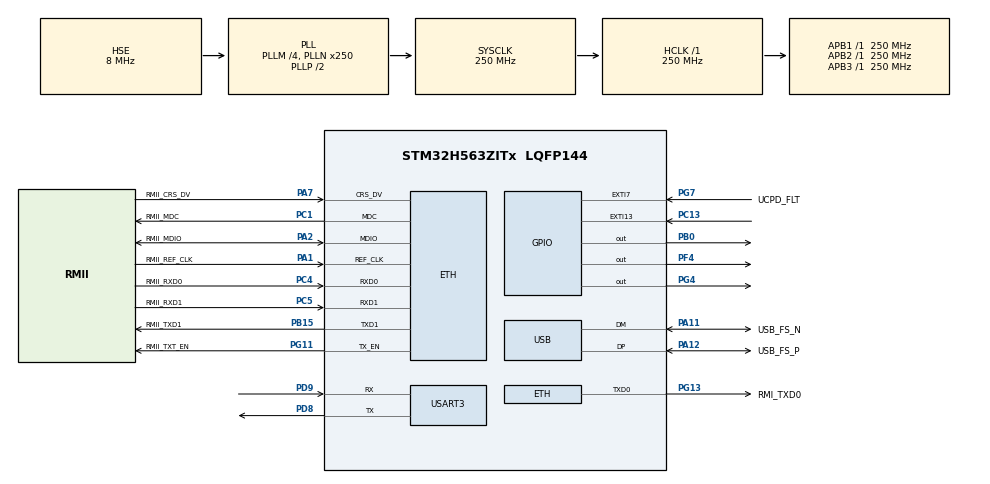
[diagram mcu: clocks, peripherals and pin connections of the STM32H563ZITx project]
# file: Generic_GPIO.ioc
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BOOTPATH.BootPathName=LEGACY
BOOTPATH.UserSelectedBootPath=LEGACY
CORTEX_M33_NS.Enable-Cortex_Memory_Protection_Unit_Region0_Settings=MPU_REGION_ENABLE
CORTEX_M33_NS.MPU_Control=__NULL
CORTEX_M33_NS.userName=CORTEX_M33
ETH.MediaInterface=HAL_ETH_RMII_MODE
FILEX.GENERATE_FILEX_INIT_CODE=false
FILEX.useRTOS=1
FLASH.EDATA1size=8
FLASH.OB_BOR_Level_active=false
FLASH.OB_EDATA1_active=true
FLASH.OB_EDATA2_active=false
FLASH.OB_HDP1_active=false
FLASH.OB_Product_State_active=false
FLASH.advanced_settings=false
GPDMA1.DESTINC_GPDMACH0=DMA_DINC_INCREMENTED
GPDMA1.IPHANDLE_GPDMACH0-SIMPLEREQUEST_GPDMACH0=__NULL
GPDMA1.REQUEST_GPDMACH0=GPDMA1_REQUEST_USART3_RX
GPDMA2.DIRECTION_GPDMACH0=DMA_MEMORY_TO_PERIPH
GPDMA2.IPHANDLE_GPDMACH0-SIMPLEREQUEST_GPDMACH0=__NULL
GPDMA2.REQUEST_GPDMACH0=GPDMA2_REQUEST_USART3_TX
GPDMA2.SRCINC_GPDMACH0=DMA_SINC_INCREMENTED
Mcu.Family=STM32H5
Mcu.Name=STM32H563ZITx
Mcu.Package=LQFP144
NETXDUO.ETH_ON=1
NETXDUO.LAN_8742=1
NETXDUO.NX_APP_IP_INSTANCE_THREAD_SIZE=2 * 1024
NETXDUO.NX_APP_MEM_POOL_SIZE=110 * 1024
NETXDUO.NX_APP_PACKET_POOL_SIZE=40
NETXDUO.NX_APP_THREAD_STACK_SIZE=2 * 1024
NETXDUO.NX_ENABLE_INTERFACE_CAPABILITY=true
NETXDUO.NX_ENABLE_SOURCE_ADDRESS_CHECK=false
NETXDUO.NetXDuo_Application_Thread_Name=nx_app_thread_entry
NETXDUO.NetXDuo_Generate_Init_Code=true
NVIC.ETH_IRQn=true\:7\:0\:true\:false\:true\:false\:true\:true\:true
NVIC.GPDMA1_Channel0_IRQn=true\:0\:0\:false\:false\:true\:true\:false\:true\:true
NVIC.GPDMA2_Channel0_IRQn=true\:0\:0\:false\:false\:true\:true\:false\:true\:true
NVIC.PriorityGroup=NVIC_PRIORITYGROUP_4
NVIC.TIM17_IRQn=true\:15\:0\:false\:false\:true\:false\:false\:true\:true
NVIC.TimeBase=TIM17_IRQn
NVIC.TimeBaseIP=TIM17
NVIC.USART3_IRQn=true\:0\:0\:false\:false\:true\:false\:true\:true\:true
NVIC.USB_DRD_FS_IRQn=true\:0\:0\:false\:false\:true\:false\:true\:true\:true
NetXDuo.BSP.number=1
NetXDuo0.BSP.STBoard=false
NetXDuo0.BSP.api=BSP_COMPONENT_DRIVER
NetXDuo0.BSP.component=lan8742
NetXDuo0.BSP.instance=lan8742
NetXDuo0.BSP.name=LAN_Component
NetXDuo0.BSP.semaphore=SEMA_lan8742
NetXDuo0.BSP.solution=lan8742
PA1.GPIO_Label=RMII_REF_CLK
PA1.GPIO_Mode=GPIO_MODE_AF_PP
PA1.GPIO_PuPd=GPIO_NOPULL
PA1.GPIO_Speed=GPIO_SPEED_FREQ_LOW
PA1.Mode=RMII
PA1.Signal=ETH_REF_CLK
PA11.GPIO_Label=USB_FS_N
PA11.Mode=Device
PA11.Signal=USB_DM
PA12.GPIO_Label=USB_FS_P
PA12.Mode=Device
PA12.Signal=USB_DP
PA13(JTMS/SWDIO).GPIO_Label=SWDIO
PA13(JTMS/SWDIO).Mode=Serial_Wire
PA13(JTMS/SWDIO).Signal=DEBUG_JTMS-SWDIO
PA14(JTCK/SWCLK).GPIO_Label=SWCLK
PA14(JTCK/SWCLK).Mode=Serial_Wire
PA14(JTCK/SWCLK).Signal=DEBUG_JTCK-SWCLK
PA15(JTDI).GPIO_Label=T_JTDI
PA15(JTDI).Signal=DEBUG_JTDI
PA2.GPIO_Label=RMII_MDIO
PA2.GPIO_Mode=GPIO_MODE_AF_PP
PA2.GPIO_PuPd=GPIO_NOPULL
PA2.GPIO_Speed=GPIO_SPEED_FREQ_LOW
PA2.Mode=RMII
PA2.Signal=ETH_MDIO
PA4.GPIO_Label=VBUS_SENSE
PA4.Signal=ADCx_INP18
PA7.GPIO_Label=RMII_CRS_DV
PA7.GPIO_Mode=GPIO_MODE_AF_PP
PA7.GPIO_PuPd=GPIO_NOPULL
PA7.GPIO_Speed=GPIO_SPEED_FREQ_LOW
PA7.Mode=RMII
PA7.Signal=ETH_CRS_DV
PA9.GPIO_Label=UCDP_DBn
PA9.Signal=UCPD1_DB1
PB0.Signal=GPIO_Output
PB13.GPIO_Label=UCPD_CC1
PB13.Signal=UCPD1_CC1
PB14.GPIO_Label=UCPD_CC2
PB14.Signal=UCPD1_CC2
PB15.GPIO_Label=RMII_TXD1
PB15.GPIO_Mode=GPIO_MODE_AF_PP
PB15.GPIO_PuPd=GPIO_NOPULL
PB15.GPIO_Speed=GPIO_SPEED_FREQ_LOW
PB15.Mode=RMII
PB15.Signal=ETH_TXD1
PB3(JTDO/TRACESWO).GPIO_Label=SWO
PB3(JTDO/TRACESWO).Signal=DEBUG_JTDO-SWO
PB6.GPIO_Label=ARD_D1_TX
PB6.Signal=LPUART1_TX
PB7.GPIO_Label=ARD_D0_RX
PB7.Signal=LPUART1_RX
PC1.GPIO_Label=RMII_MDC
PC1.GPIO_Mode=GPIO_MODE_AF_PP
PC1.GPIO_PuPd=GPIO_NOPULL
PC1.GPIO_Speed=GPIO_SPEED_FREQ_LOW
PC1.Mode=RMII
PC1.Signal=ETH_MDC
PC13.Signal=GPXTI13
PC14-OSC32_IN(OSC32_IN).Mode=LSE-External-Oscillator
PC14-OSC32_IN(OSC32_IN).Signal=RCC_OSC32_IN
PC15-OSC32_OUT(OSC32_OUT).Mode=LSE-External-Oscillator
PC15-OSC32_OUT(OSC32_OUT).Signal=RCC_OSC32_OUT
PC4.GPIO_Label=RMII_RXD0
PC4.GPIO_Mode=GPIO_MODE_AF_PP
PC4.GPIO_PuPd=GPIO_NOPULL
PC4.GPIO_Speed=GPIO_SPEED_FREQ_LOW
PC4.Mode=RMII
PC4.Signal=ETH_RXD0
PC5.GPIO_Label=RMII_RXD1
PC5.GPIO_Mode=GPIO_MODE_AF_PP
PC5.GPIO_PuPd=GPIO_NOPULL
PC5.GPIO_Speed=GPIO_SPEED_FREQ_LOW
PC5.Mode=RMII
PC5.Signal=ETH_RXD1
PD8.Mode=Asynchronous
PD8.Signal=USART3_TX
PD9.Mode=Asynchronous
PD9.Signal=USART3_RX
PE2.GPIO_Label=TRACE_CK
PE2.Signal=DEBUG_TRACECLK
PE3.GPIO_Label=TRACE_D0
PE3.Signal=DEBUG_TRACED0
PE4.GPIO_Label=TRACE_D1
PE4.Signal=DEBUG_TRACED1
PE5.GPIO_Label=TRACE_D2
PE5.Signal=DEBUG_TRACED2
PE6.GPIO_Label=TRACE_D3
PE6.Signal=DEBUG_TRACED3
PF4.Signal=GPIO_Output
PG11.GPIO_Label=RMII_TXT_EN
PG11.GPIO_Mode=GPIO_MODE_AF_PP
PG11.GPIO_PuPd=GPIO_NOPULL
PG11.GPIO_Speed=GPIO_SPEED_FREQ_LOW
PG11.Mode=RMII
PG11.Signal=ETH_TX_EN
PG13.GPIO_Label=RMI_TXD0
PG13.GPIO_Mode=GPIO_MODE_AF_PP
PG13.GPIO_PuPd=GPIO_NOPULL
PG13.GPIO_Speed=GPIO_SPEED_FREQ_LOW
PG13.Mode=RMII
PG13.Signal=ETH_TXD0
PG4.Signal=GPIO_Output
PG7.GPIO_Label=UCPD_FLT
PG7.Signal=GPXTI7
PH0-OSC_IN(PH0).GPIO_Label=STLK_MCO
PH0-OSC_IN(PH0).Mode=HSE-External-Clock-Source
PH0-OSC_IN(PH0).Signal=RCC_OSC_IN
ProjectManager.HeapSize=0x200
ProjectManager.StackSize=0x400
ProjectManager.TargetToolchain=STM32CubeIDE
RCC.ADCFreq_Value=250000000
RCC.AHBFreq_Value=250000000
RCC.APB1Freq_Value=250000000
RCC.APB1TimFreq_Value=250000000
RCC.APB2Freq_Value=250000000
RCC.APB2TimFreq_Value=250000000
RCC.APB3Freq_Value=250000000
RCC.CSI_VALUE=4000000
RCC.CortexFreq_Value=250000000
RCC.EPOD_VALUE=8000000
RCC.HCLKFreq_Value=250000000
RCC.HSE_VALUE=8000000
RCC.HSI48_VALUE=48000000
RCC.HSIDiv=RCC_HSI_DIV1
RCC.HSI_VALUE=64000000
RCC.LSIRC_VALUE=32000
RCC.PLLM=4
RCC.PLLN=250
RCC.PLLSourceVirtual=RCC_PLL1_SOURCE_HSE
RCC.SYSCLKFreq_VALUE=250000000
RCC.SYSCLKSource=RCC_SYSCLKSOURCE_PLLCLK
RCC.USBFreq_Value=48000000
RCC.VCOOutputFreq_Value=500000000
SH.ADCx_INP18.0=ADC1_INP18
USART3.VirtualMode-Asynchronous=VM_ASYNC
USB.VirtualMode=Device_Only
USBX.BSP.number=1
USBX.Core_System=1
USBX.USBD_CDCACM_EPIN_ADDR=2
USBX.USBD_CDCACM_EPOUT_ADDR=3
USBX.UX_DEVICE_CDC_ACM=1
USBX.UX_Device_Controller=1
USBX.UX_Device_CoreStack=1
USBX.UX_PERIODIC_RATE=100
USBX0.BSP.STBoard=false
USBX0.BSP.api=Unknown
USBX0.BSP.instance=USB
USBX0.BSP.ip=USB
USBX0.BSP.mode=Device_Only
USBX0.BSP.name=USB_Device
USBX0.BSP.solution=USB
VP_BOOTPATH_VS_BOOTPATH.Mode=BP_Activate
VP_CORTEX_M33_NS_VS_Hclk.Mode=Hclk_Mode
VP_FILEX_VS_FileOoSystemJjFileXJjCore.Mode=FileX_Core
VP_FLASH_SIG_Activate_FlashIP.Mode=Activate_FlashIP
VP_GPDMA1_VS_GPDMACH0.Mode=SIMPLEREQUEST_GPDMACH0
VP_GPDMA2_VS_GPDMACH0.Mode=SIMPLEREQUEST_GPDMACH0
VP_ICACHE_VS_ICACHE.Mode=DefaultMode
VP_MEMORYMAP_VS_MEMORYMAP.Mode=CurAppReg
VP_NETXDUO_VS_AddonsOoAutoIP.Mode=Addons_AutoIP
VP_NETXDUO_VS_AddonsOoDHCP.Mode=Addons_DHCP_Client
VP_NETXDUO_VS_AddonsOoDNS.Mode=Addons_DNS
VP_NETXDUO_VS_AddonsOoMQTT.Mode=Addons_MQTT
VP_NETXDUO_VS_AddonsOoWebOoServer.Mode=Addons_Web_Server
VP_NETXDUO_VS_EthernetOoPhyOoInterface.Mode=LAN8742_Phy_Interface
VP_NETXDUO_VS_NXOoCore.Mode=NX_Core
VP_NETXDUO_VS_NetworkOoInterface.Mode=Ethernet_Interface
VP_PWR_VS_DBSignals.Mode=DisableDeadBatterySignals
VP_PWR_VS_LPOM.Mode=PowerOptimisation
VP_PWR_VS_SECSignals.Mode=Security/Privilege
VP_RNG_VS_RNG.Mode=RNG_Activate
VP_SYS_VS_tim17.Mode=TIM17
VP_THREADX_VS_RTOSJjThreadXJjCoreJjDefault.Mode=Core_Default
VP_TIM12_VS_ClockSourceINT.Mode=Internal
VP_TIM13_VS_ClockSourceINT.Mode=Enable_Timer
VP_TIM14_VS_ClockSourceINT.Mode=Enable_Timer
VP_TIM15_VS_ClockSourceINT.Mode=Internal
VP_TIM16_VS_ClockSourceINT.Mode=Enable_Timer
VP_TIM1_VS_ClockSourceINT.Mode=Internal
VP_TIM2_VS_ClockSourceINT.Mode=Internal
VP_TIM3_VS_ClockSourceINT.Mode=Internal
VP_TIM4_VS_ClockSourceINT.Mode=Internal
VP_TIM5_VS_ClockSourceINT.Mode=Internal
VP_TIM6_VS_ClockSourceINT.Mode=Enable_Timer
VP_TIM7_VS_ClockSourceINT.Mode=Enable_Timer
VP_TIM8_VS_ClockSourceINT.Mode=Internal
VP_USBX_Core_System.Mode=Core_System
VP_USBX_UX\ Device\ CDC\ ACM\ Class_FS.Mode=UX_Device_class_CDC_ACM_FS
VP_USBX_UX\ Device\ Controller_FS.Mode=UX_Device_Controller_FS
VP_USBX_UX\ Device\ CoreStack_FS.Mode=UX_Device_CoreStack_FS
board=NUCLEO-H563ZI

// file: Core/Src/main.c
/* USER CODE BEGIN Header */
/**
  ******************************************************************************
  * @file           : main.c
  * @brief          : Main program body
  ******************************************************************************
  * @attention
  *
  * Copyright (c) 2023 STMicroelectronics.
  * All rights reserved.
  *
  * This software is licensed under terms that can be found in the LICENSE file
  * in the root directory of this software component.
  * If no LICENSE file comes with this software, it is provided AS-IS.
  *
  ******************************************************************************
  */
/* USER CODE END Header */
#include "app_threadx.h"
#include "main.h"
#include "string.h"

/* USER CODE BEGIN Includes */
#include "stdio.h"
/* USER CODE END Includes */

/* USER CODE BEGIN PTD */
#if defined(__ICCARM__)
size_t __write(int file, unsigned char const *ptr, size_t len);
/* New definition from EWARM V9, compatible with EWARM8 */
int iar_fputc(int ch);
#define PUTCHAR_PROTOTYPE int iar_fputc(int ch)
#elif defined ( __CC_ARM ) || defined(__ARMCC_VERSION)
/* ARM Compiler 5/6*/
#define PUTCHAR_PROTOTYPE int fputc(int ch, FILE *f)
#elif defined(__GNUC__)
#define PUTCHAR_PROTOTYPE int __io_putchar(int ch)
#endif /* __ICCARM__ */

/* USER CODE END PTD */

ETH_TxPacketConfigTypeDef TxConfig;
ETH_DMADescTypeDef  DMARxDscrTab[ETH_RX_DESC_CNT]; /* Ethernet Rx DMA Descriptors */
ETH_DMADescTypeDef  DMATxDscrTab[ETH_TX_DESC_CNT]; /* Ethernet Tx DMA Descriptors */

ETH_HandleTypeDef heth;

RNG_HandleTypeDef hrng;

TIM_HandleTypeDef htim1;
TIM_HandleTypeDef htim2;
TIM_HandleTypeDef htim3;
TIM_HandleTypeDef htim4;
TIM_HandleTypeDef htim5;
TIM_HandleTypeDef htim6;
TIM_HandleTypeDef htim7;
TIM_HandleTypeDef htim8;
TIM_HandleTypeDef htim12;
TIM_HandleTypeDef htim13;
TIM_HandleTypeDef htim14;
TIM_HandleTypeDef htim15;
TIM_HandleTypeDef htim16;

UART_HandleTypeDef huart3;
DMA_HandleTypeDef handle_GPDMA1_Channel0;
DMA_HandleTypeDef handle_GPDMA2_Channel0;

PCD_HandleTypeDef hpcd_USB_DRD_FS;

void SystemClock_Config(void);
static void MX_GPIO_Init(void);
static void MX_GPDMA1_Init(void);
static void MX_GPDMA2_Init(void);
static void MX_ETH_Init(void);
static void MX_FLASH_Init(void);
static void MX_USART3_UART_Init(void);
static void MX_ICACHE_Init(void);
static void MX_RNG_Init(void);
static void MX_TIM1_Init(void);
static void MX_TIM2_Init(void);
static void MX_TIM3_Init(void);
static void MX_TIM4_Init(void);
static void MX_TIM5_Init(void);
static void MX_TIM6_Init(void);
static void MX_TIM7_Init(void);
static void MX_TIM8_Init(void);
static void MX_TIM12_Init(void);
static void MX_TIM13_Init(void);
static void MX_TIM14_Init(void);
static void MX_TIM15_Init(void);
static void MX_TIM16_Init(void);
static void MX_USB_PCD_Init(void);

int main(void)
{

  /* MCU Configuration--------------------------------------------------------*/

  /* Reset of all peripherals, Initializes the Flash interface and the Systick. */
  HAL_Init();

  /* Configure the system clock */
  SystemClock_Config();

  /* USER CODE BEGIN SysInit */
  MPU_Attributes_InitTypeDef   attr;
  MPU_Region_InitTypeDef       region;

  /* Disable MPU before perloading and config update */
  HAL_MPU_Disable();

  /* Define cacheable memory via MPU */
  attr.Number             = MPU_ATTRIBUTES_NUMBER0;
  attr.Attributes         = 0 ;
  HAL_MPU_ConfigMemoryAttributes(&attr);

  /* BaseAddress-LimitAddress configuration */
  region.Enable           = MPU_REGION_ENABLE;
  region.Number           = MPU_REGION_NUMBER0;
  region.AttributesIndex  = MPU_ATTRIBUTES_NUMBER0;
  region.BaseAddress      = FLASH_EDATA_BASE_NS;
  region.LimitAddress     = FLASH_EDATA_BASE_NS + (FLASH_EDATA_SIZE / 2) - 1; // 0x9060000
  region.AccessPermission = MPU_REGION_ALL_RW;
  region.DisableExec      = MPU_INSTRUCTION_ACCESS_ENABLE;
  region.IsShareable      = MPU_ACCESS_NOT_SHAREABLE;
  HAL_MPU_ConfigRegion(&region);

  /* Enable the MPU */
  HAL_MPU_Enable(MPU_PRIVILEGED_DEFAULT);
  /* USER CODE END SysInit */

  /* Initialize all configured peripherals */
  MX_GPIO_Init();
  MX_GPDMA1_Init();
  MX_GPDMA2_Init();
  MX_ETH_Init();
  MX_FLASH_Init();
  MX_USART3_UART_Init();
  MX_ICACHE_Init();
  MX_RNG_Init();
  MX_TIM1_Init();
  MX_TIM2_Init();
  MX_TIM3_Init();
  MX_TIM4_Init();
  MX_TIM5_Init();
  MX_TIM6_Init();
  MX_TIM7_Init();
  MX_TIM8_Init();
  MX_TIM12_Init();
  MX_TIM13_Init();
  MX_TIM14_Init();
  MX_TIM15_Init();
  MX_TIM16_Init();
  MX_USB_PCD_Init();

  MX_ThreadX_Init();

  /* We should never get here as control is now taken by the scheduler */

  /* Infinite loop */
  while (1)
  {

  }
}

void SystemClock_Config(void)
{
  RCC_OscInitTypeDef RCC_OscInitStruct = {0};
  RCC_ClkInitTypeDef RCC_ClkInitStruct = {0};

  /** Configure the main internal regulator output voltage
  */
  __HAL_PWR_VOLTAGESCALING_CONFIG(PWR_REGULATOR_VOLTAGE_SCALE0);

  while(!__HAL_PWR_GET_FLAG(PWR_FLAG_VOSRDY)) {}

  /** Initializes the RCC Oscillators according to the specified parameters
  * in the RCC_OscInitTypeDef structure.
  */
  RCC_OscInitStruct.OscillatorType = RCC_OSCILLATORTYPE_HSI48|RCC_OSCILLATORTYPE_HSE;
  RCC_OscInitStruct.HSEState = RCC_HSE_BYPASS;
  RCC_OscInitStruct.HSI48State = RCC_HSI48_ON;
  RCC_OscInitStruct.PLL.PLLState = RCC_PLL_ON;
  RCC_OscInitStruct.PLL.PLLSource = RCC_PLL1_SOURCE_HSE;
  RCC_OscInitStruct.PLL.PLLM = 4;
  RCC_OscInitStruct.PLL.PLLN = 250;
  RCC_OscInitStruct.PLL.PLLP = 2;
  RCC_OscInitStruct.PLL.PLLQ = 2;
  RCC_OscInitStruct.PLL.PLLR = 2;
  RCC_OscInitStruct.PLL.PLLRGE = RCC_PLL1_VCIRANGE_1;
  RCC_OscInitStruct.PLL.PLLVCOSEL = RCC_PLL1_VCORANGE_WIDE;
  RCC_OscInitStruct.PLL.PLLFRACN = 0;
  if (HAL_RCC_OscConfig(&RCC_OscInitStruct) != HAL_OK)
  {
    Error_Handler();
  }

  /** Initializes the CPU, AHB and APB buses clocks
  */
  RCC_ClkInitStruct.ClockType = RCC_CLOCKTYPE_HCLK|RCC_CLOCKTYPE_SYSCLK
                              |RCC_CLOCKTYPE_PCLK1|RCC_CLOCKTYPE_PCLK2
                              |RCC_CLOCKTYPE_PCLK3;
  RCC_ClkInitStruct.SYSCLKSource = RCC_SYSCLKSOURCE_PLLCLK;
  RCC_ClkInitStruct.AHBCLKDivider = RCC_SYSCLK_DIV1;
  RCC_ClkInitStruct.APB1CLKDivider = RCC_HCLK_DIV1;
  RCC_ClkInitStruct.APB2CLKDivider = RCC_HCLK_DIV1;
  RCC_ClkInitStruct.APB3CLKDivider = RCC_HCLK_DIV1;

  if (HAL_RCC_ClockConfig(&RCC_ClkInitStruct, FLASH_LATENCY_5) != HAL_OK)
  {
    Error_Handler();
  }

  /** Configure the programming delay
  */
  __HAL_FLASH_SET_PROGRAM_DELAY(FLASH_PROGRAMMING_DELAY_2);
}

static void MX_ETH_Init(void)
{

   static uint8_t MACAddr[6];

  heth.Instance = ETH;
  MACAddr[0] = 0x00;
  MACAddr[1] = 0x80;
  MACAddr[2] = 0xE1;
  MACAddr[3] = 0x00;
  MACAddr[4] = 0x00;
  MACAddr[5] = 0x00;
  heth.Init.MACAddr = &MACAddr[0];
  heth.Init.MediaInterface = HAL_ETH_RMII_MODE;
  heth.Init.TxDesc = DMATxDscrTab;
  heth.Init.RxDesc = DMARxDscrTab;
  heth.Init.RxBuffLen = 1524;

  if (HAL_ETH_Init(&heth) != HAL_OK)
  {
    Error_Handler();
  }

  memset(&TxConfig, 0 , sizeof(ETH_TxPacketConfigTypeDef));
  TxConfig.Attributes = ETH_TX_PACKETS_FEATURES_CSUM | ETH_TX_PACKETS_FEATURES_CRCPAD;
  TxConfig.ChecksumCtrl = ETH_CHECKSUM_IPHDR_PAYLOAD_INSERT_PHDR_CALC;
  TxConfig.CRCPadCtrl = ETH_CRC_PAD_INSERT;

}

static void MX_FLASH_Init(void)
{

  FLASH_OBProgramInitTypeDef pOBInit = {0};

  /* USER CODE BEGIN FLASH_Init 1 */
  pOBInit.Banks = FLASH_BANK_1;
  HAL_FLASHEx_OBGetConfig(&pOBInit);

  if (pOBInit.EDATASize != 8)
  {
  /* USER CODE END FLASH_Init 1 */
  if (HAL_FLASH_Unlock() != HAL_OK)
  {
    Error_Handler();
  }

  /* Option Bytes settings */

  if (HAL_FLASH_OB_Unlock() != HAL_OK)
  {
    Error_Handler();
  }
  pOBInit.OptionType = OPTIONBYTE_EDATA;
  pOBInit.Banks = FLASH_BANK_1;
  pOBInit.EDATASize = 8;
  if (HAL_FLASHEx_OBProgram(&pOBInit) != HAL_OK)
  {
    Error_Handler();
  }
  if (HAL_FLASH_OB_Lock() != HAL_OK)
  {
    Error_Handler();
  }
  if (HAL_FLASH_Lock() != HAL_OK)
  {
    Error_Handler();
  }

  /* Launch Option Bytes Loading */
  /*HAL_FLASH_OB_Launch(); */

  }

}

static void MX_GPDMA1_Init(void)
{

  /* Peripheral clock enable */
  __HAL_RCC_GPDMA1_CLK_ENABLE();

  /* GPDMA1 interrupt Init */
    HAL_NVIC_SetPriority(GPDMA1_Channel0_IRQn, 0, 0);
    HAL_NVIC_EnableIRQ(GPDMA1_Channel0_IRQn);

}

static void MX_GPDMA2_Init(void)
{

  /* Peripheral clock enable */
  __HAL_RCC_GPDMA2_CLK_ENABLE();

  /* GPDMA2 interrupt Init */
    HAL_NVIC_SetPriority(GPDMA2_Channel0_IRQn, 0, 0);
    HAL_NVIC_EnableIRQ(GPDMA2_Channel0_IRQn);

}

static void MX_ICACHE_Init(void)
{

  /** Enable instruction cache (default 2-ways set associative cache)
  */
  if (HAL_ICACHE_Enable() != HAL_OK)
  {
    Error_Handler();
  }

}

static void MX_RNG_Init(void)
{

  hrng.Instance = RNG;
  hrng.Init.ClockErrorDetection = RNG_CED_ENABLE;
  if (HAL_RNG_Init(&hrng) != HAL_OK)
  {
    Error_Handler();
  }

}

static void MX_TIM1_Init(void)
{

  TIM_ClockConfigTypeDef sClockSourceConfig = {0};
  TIM_MasterConfigTypeDef sMasterConfig = {0};

  htim1.Instance = TIM1;
  htim1.Init.Prescaler = 0;
  htim1.Init.CounterMode = TIM_COUNTERMODE_UP;
  htim1.Init.Period = 65535;
  htim1.Init.ClockDivision = TIM_CLOCKDIVISION_DIV1;
  htim1.Init.RepetitionCounter = 0;
  htim1.Init.AutoReloadPreload = TIM_AUTORELOAD_PRELOAD_DISABLE;
  if (HAL_TIM_Base_Init(&htim1) != HAL_OK)
  {
    Error_Handler();
  }
  sClockSourceConfig.ClockSource = TIM_CLOCKSOURCE_INTERNAL;
  if (HAL_TIM_ConfigClockSource(&htim1, &sClockSourceConfig) != HAL_OK)
  {
    Error_Handler();
  }
  sMasterConfig.MasterOutputTrigger = TIM_TRGO_RESET;
  sMasterConfig.MasterOutputTrigger2 = TIM_TRGO2_RESET;
  sMasterConfig.MasterSlaveMode = TIM_MASTERSLAVEMODE_DISABLE;
  if (HAL_TIMEx_MasterConfigSynchronization(&htim1, &sMasterConfig) != HAL_OK)
  {
    Error_Handler();
  }

}

static void MX_TIM2_Init(void)
{

  TIM_ClockConfigTypeDef sClockSourceConfig = {0};
  TIM_MasterConfigTypeDef sMasterConfig = {0};

  htim2.Instance = TIM2;
  htim2.Init.Prescaler = 0;
  htim2.Init.CounterMode = TIM_COUNTERMODE_UP;
  htim2.Init.Period = 4294967295;
  htim2.Init.ClockDivision = TIM_CLOCKDIVISION_DIV1;
  htim2.Init.AutoReloadPreload = TIM_AUTORELOAD_PRELOAD_DISABLE;
  if (HAL_TIM_Base_Init(&htim2) != HAL_OK)
  {
    Error_Handler();
  }
  sClockSourceConfig.ClockSource = TIM_CLOCKSOURCE_INTERNAL;
  if (HAL_TIM_ConfigClockSource(&htim2, &sClockSourceConfig) != HAL_OK)
  {
    Error_Handler();
  }
  sMasterConfig.MasterOutputTrigger = TIM_TRGO_RESET;
  sMasterConfig.MasterSlaveMode = TIM_MASTERSLAVEMODE_DISABLE;
  if (HAL_TIMEx_MasterConfigSynchronization(&htim2, &sMasterConfig) != HAL_OK)
  {
    Error_Handler();
  }

}

static void MX_TIM3_Init(void)
{

  TIM_ClockConfigTypeDef sClockSourceConfig = {0};
  TIM_MasterConfigTypeDef sMasterConfig = {0};

  htim3.Instance = TIM3;
  htim3.Init.Prescaler = 0;
  htim3.Init.CounterMode = TIM_COUNTERMODE_UP;
  htim3.Init.Period = 65535;
  htim3.Init.ClockDivision = TIM_CLOCKDIVISION_DIV1;
  htim3.Init.AutoReloadPreload = TIM_AUTORELOAD_PRELOAD_DISABLE;
  if (HAL_TIM_Base_Init(&htim3) != HAL_OK)
  {
    Error_Handler();
  }
  sClockSourceConfig.ClockSource = TIM_CLOCKSOURCE_INTERNAL;
  if (HAL_TIM_ConfigClockSource(&htim3, &sClockSourceConfig) != HAL_OK)
  {
    Error_Handler();
  }
  sMasterConfig.MasterOutputTrigger = TIM_TRGO_RESET;
  sMasterConfig.MasterSlaveMode = TIM_MASTERSLAVEMODE_DISABLE;
  if (HAL_TIMEx_MasterConfigSynchronization(&htim3, &sMasterConfig) != HAL_OK)
  {
    Error_Handler();
  }

}

static void MX_TIM4_Init(void)
{

  TIM_ClockConfigTypeDef sClockSourceConfig = {0};
  TIM_MasterConfigTypeDef sMasterConfig = {0};

  htim4.Instance = TIM4;
  htim4.Init.Prescaler = 0;
  htim4.Init.CounterMode = TIM_COUNTERMODE_UP;
  htim4.Init.Period = 65535;
  htim4.Init.ClockDivision = TIM_CLOCKDIVISION_DIV1;
  htim4.Init.AutoReloadPreload = TIM_AUTORELOAD_PRELOAD_DISABLE;
  if (HAL_TIM_Base_Init(&htim4) != HAL_OK)
  {
    Error_Handler();
  }
  sClockSourceConfig.ClockSource = TIM_CLOCKSOURCE_INTERNAL;
  if (HAL_TIM_ConfigClockSource(&htim4, &sClockSourceConfig) != HAL_OK)
  {
    Error_Handler();
  }
  sMasterConfig.MasterOutputTrigger = TIM_TRGO_RESET;
  sMasterConfig.MasterSlaveMode = TIM_MASTERSLAVEMODE_DISABLE;
  if (HAL_TIMEx_MasterConfigSynchronization(&htim4, &sMasterConfig) != HAL_OK)
  {
    Error_Handler();
  }

}

static void MX_TIM5_Init(void)
{

  TIM_ClockConfigTypeDef sClockSourceConfig = {0};
  TIM_MasterConfigTypeDef sMasterConfig = {0};

  htim5.Instance = TIM5;
  htim5.Init.Prescaler = 0;
  htim5.Init.CounterMode = TIM_COUNTERMODE_UP;
  htim5.Init.Period = 4294967295;
  htim5.Init.ClockDivision = TIM_CLOCKDIVISION_DIV1;
  htim5.Init.AutoReloadPreload = TIM_AUTORELOAD_PRELOAD_DISABLE;
  if (HAL_TIM_Base_Init(&htim5) != HAL_OK)
  {
    Error_Handler();
  }
  sClockSourceConfig.ClockSource = TIM_CLOCKSOURCE_INTERNAL;
  if (HAL_TIM_ConfigClockSource(&htim5, &sClockSourceConfig) != HAL_OK)
  {
    Error_Handler();
  }
  sMasterConfig.MasterOutputTrigger = TIM_TRGO_RESET;
  sMasterConfig.MasterSlaveMode = TIM_MASTERSLAVEMODE_DISABLE;
  if (HAL_TIMEx_MasterConfigSynchronization(&htim5, &sMasterConfig) != HAL_OK)
  {
    Error_Handler();
  }

}

static void MX_TIM6_Init(void)
{

  TIM_MasterConfigTypeDef sMasterConfig = {0};

  htim6.Instance = TIM6;
  htim6.Init.Prescaler = 0;
  htim6.Init.CounterMode = TIM_COUNTERMODE_UP;
  htim6.Init.Period = 65535;
  htim6.Init.AutoReloadPreload = TIM_AUTORELOAD_PRELOAD_DISABLE;
  if (HAL_TIM_Base_Init(&htim6) != HAL_OK)
  {
    Error_Handler();
  }
  sMasterConfig.MasterOutputTrigger = TIM_TRGO_RESET;
  sMasterConfig.MasterSlaveMode = TIM_MASTERSLAVEMODE_DISABLE;
  if (HAL_TIMEx_MasterConfigSynchronization(&htim6, &sMasterConfig) != HAL_OK)
  {
    Error_Handler();
  }

}

static void MX_TIM7_Init(void)
{

  TIM_MasterConfigTypeDef sMasterConfig = {0};

  htim7.Instance = TIM7;
  htim7.Init.Prescaler = 0;
  htim7.Init.CounterMode = TIM_COUNTERMODE_UP;
  htim7.Init.Period = 65535;
  htim7.Init.AutoReloadPreload = TIM_AUTORELOAD_PRELOAD_DISABLE;
  if (HAL_TIM_Base_Init(&htim7) != HAL_OK)
  {
    Error_Handler();
  }
  sMasterConfig.MasterOutputTrigger = TIM_TRGO_RESET;
  sMasterConfig.MasterSlaveMode = TIM_MASTERSLAVEMODE_DISABLE;
  if (HAL_TIMEx_MasterConfigSynchronization(&htim7, &sMasterConfig) != HAL_OK)
  {
    Error_Handler();
  }

}

static void MX_TIM8_Init(void)
{

  TIM_ClockConfigTypeDef sClockSourceConfig = {0};
  TIM_MasterConfigTypeDef sMasterConfig = {0};

  htim8.Instance = TIM8;
  htim8.Init.Prescaler = 0;
  htim8.Init.CounterMode = TIM_COUNTERMODE_UP;
  htim8.Init.Period = 65535;
  htim8.Init.ClockDivision = TIM_CLOCKDIVISION_DIV1;
  htim8.Init.RepetitionCounter = 0;
  htim8.Init.AutoReloadPreload = TIM_AUTORELOAD_PRELOAD_DISABLE;
  if (HAL_TIM_Base_Init(&htim8) != HAL_OK)
  {
    Error_Handler();
  }
  sClockSourceConfig.ClockSource = TIM_CLOCKSOURCE_INTERNAL;
  if (HAL_TIM_ConfigClockSource(&htim8, &sClockSourceConfig) != HAL_OK)
  {
    Error_Handler();
  }
  sMasterConfig.MasterOutputTrigger = TIM_TRGO_RESET;
  sMasterConfig.MasterOutputTrigger2 = TIM_TRGO2_RESET;
  sMasterConfig.MasterSlaveMode = TIM_MASTERSLAVEMODE_DISABLE;
  if (HAL_TIMEx_MasterConfigSynchronization(&htim8, &sMasterConfig) != HAL_OK)
  {
    Error_Handler();
  }

}

static void MX_TIM12_Init(void)
{

  TIM_ClockConfigTypeDef sClockSourceConfig = {0};

  htim12.Instance = TIM12;
  htim12.Init.Prescaler = 0;
  htim12.Init.CounterMode = TIM_COUNTERMODE_UP;
  htim12.Init.Period = 65535;
  htim12.Init.ClockDivision = TIM_CLOCKDIVISION_DIV1;
  htim12.Init.AutoReloadPreload = TIM_AUTORELOAD_PRELOAD_DISABLE;
  if (HAL_TIM_Base_Init(&htim12) != HAL_OK)
  {
    Error_Handler();
  }
  sClockSourceConfig.ClockSource = TIM_CLOCKSOURCE_INTERNAL;
  if (HAL_TIM_ConfigClockSource(&htim12, &sClockSourceConfig) != HAL_OK)
  {
    Error_Handler();
  }

}

static void MX_TIM13_Init(void)
{

  htim13.Instance = TIM13;
  htim13.Init.Prescaler = 0;
  htim13.Init.CounterMode = TIM_COUNTERMODE_UP;
  htim13.Init.Period = 65535;
  htim13.Init.ClockDivision = TIM_CLOCKDIVISION_DIV1;
  htim13.Init.AutoReloadPreload = TIM_AUTORELOAD_PRELOAD_DISABLE;
  if (HAL_TIM_Base_Init(&htim13) != HAL_OK)
  {
    Error_Handler();
  }

}

static void MX_TIM14_Init(void)
{

  htim14.Instance = TIM14;
  htim14.Init.Prescaler = 0;
  htim14.Init.CounterMode = TIM_COUNTERMODE_UP;
  htim14.Init.Period = 65535;
  htim14.Init.ClockDivision = TIM_CLOCKDIVISION_DIV1;
  htim14.Init.AutoReloadPreload = TIM_AUTORELOAD_PRELOAD_DISABLE;
  if (HAL_TIM_Base_Init(&htim14) != HAL_OK)
  {
    Error_Handler();
  }

}

static void MX_TIM15_Init(void)
{

  TIM_ClockConfigTypeDef sClockSourceConfig = {0};
  TIM_MasterConfigTypeDef sMasterConfig = {0};

  htim15.Instance = TIM15;
  htim15.Init.Prescaler = 0;
  htim15.Init.CounterMode = TIM_COUNTERMODE_UP;
  htim15.Init.Period = 65535;
  htim15.Init.ClockDivision = TIM_CLOCKDIVISION_DIV1;
  htim15.Init.RepetitionCounter = 0;
  htim15.Init.AutoReloadPreload = TIM_AUTORELOAD_PRELOAD_DISABLE;
  if (HAL_TIM_Base_Init(&htim15) != HAL_OK)
  {
    Error_Handler();
  }
  sClockSourceConfig.ClockSource = TIM_CLOCKSOURCE_INTERNAL;
  if (HAL_TIM_ConfigClockSource(&htim15, &sClockSourceConfig) != HAL_OK)
  {
    Error_Handler();
  }
  sMasterConfig.MasterOutputTrigger = TIM_TRGO_RESET;
  sMasterConfig.MasterSlaveMode = TIM_MASTERSLAVEMODE_DISABLE;
  if (HAL_TIMEx_MasterConfigSynchronization(&htim15, &sMasterConfig) != HAL_OK)
  {
    Error_Handler();
  }

}

static void MX_TIM16_Init(void)
{

  htim16.Instance = TIM16;
  htim16.Init.Prescaler = 0;
  htim16.Init.CounterMode = TIM_COUNTERMODE_UP;
  htim16.Init.Period = 65535;
  htim16.Init.ClockDivision = TIM_CLOCKDIVISION_DIV1;
  htim16.Init.RepetitionCounter = 0;
  htim16.Init.AutoReloadPreload = TIM_AUTORELOAD_PRELOAD_DISABLE;
  if (HAL_TIM_Base_Init(&htim16) != HAL_OK)
  {
    Error_Handler();
  }

}

static void MX_USART3_UART_Init(void)
{

  huart3.Instance = USART3;
  huart3.Init.BaudRate = 115200;
  huart3.Init.WordLength = UART_WORDLENGTH_8B;
  huart3.Init.StopBits = UART_STOPBITS_1;
  huart3.Init.Parity = UART_PARITY_NONE;
  huart3.Init.Mode = UART_MODE_TX_RX;
  huart3.Init.HwFlowCtl = UART_HWCONTROL_NONE;
  huart3.Init.OverSampling = UART_OVERSAMPLING_16;
  huart3.Init.OneBitSampling = UART_ONE_BIT_SAMPLE_DISABLE;
  huart3.Init.ClockPrescaler = UART_PRESCALER_DIV1;
  huart3.AdvancedInit.AdvFeatureInit = UART_ADVFEATURE_NO_INIT;
  if (HAL_UART_Init(&huart3) != HAL_OK)
  {
    Error_Handler();
  }
  if (HAL_UARTEx_SetTxFifoThreshold(&huart3, UART_TXFIFO_THRESHOLD_1_8) != HAL_OK)
  {
    Error_Handler();
  }
  if (HAL_UARTEx_SetRxFifoThreshold(&huart3, UART_RXFIFO_THRESHOLD_1_8) != HAL_OK)
  {
    Error_Handler();
  }
  if (HAL_UARTEx_DisableFifoMode(&huart3) != HAL_OK)
  {
    Error_Handler();
  }

}

static void MX_USB_PCD_Init(void)
{

  hpcd_USB_DRD_FS.Instance = USB_DRD_FS;
  hpcd_USB_DRD_FS.Init.dev_endpoints = 8;
  hpcd_USB_DRD_FS.Init.speed = USBD_FS_SPEED;
  hpcd_USB_DRD_FS.Init.phy_itface = PCD_PHY_EMBEDDED;
  hpcd_USB_DRD_FS.Init.Sof_enable = DISABLE;
  hpcd_USB_DRD_FS.Init.low_power_enable = DISABLE;
  hpcd_USB_DRD_FS.Init.lpm_enable = DISABLE;
  hpcd_USB_DRD_FS.Init.battery_charging_enable = DISABLE;
  hpcd_USB_DRD_FS.Init.vbus_sensing_enable = DISABLE;
  hpcd_USB_DRD_FS.Init.bulk_doublebuffer_enable = DISABLE;
  hpcd_USB_DRD_FS.Init.iso_singlebuffer_enable = DISABLE;
  if (HAL_PCD_Init(&hpcd_USB_DRD_FS) != HAL_OK)
  {
    Error_Handler();
  }

}

static void MX_GPIO_Init(void)
{
  GPIO_InitTypeDef GPIO_InitStruct = {0};
/* USER CODE BEGIN MX_GPIO_Init_1 */
  __HAL_RCC_GPIOE_CLK_ENABLE();
  __HAL_RCC_GPIOF_CLK_ENABLE();
  __HAL_RCC_GPIOI_CLK_ENABLE();
/* USER CODE END MX_GPIO_Init_1 */

  /* GPIO Ports Clock Enable */
  __HAL_RCC_GPIOE_CLK_ENABLE();
  __HAL_RCC_GPIOC_CLK_ENABLE();
  __HAL_RCC_GPIOF_CLK_ENABLE();
  __HAL_RCC_GPIOH_CLK_ENABLE();
  __HAL_RCC_GPIOA_CLK_ENABLE();
  __HAL_RCC_GPIOB_CLK_ENABLE();
  __HAL_RCC_GPIOD_CLK_ENABLE();
  __HAL_RCC_GPIOG_CLK_ENABLE();

  /*Configure GPIO pin Output Level */
  HAL_GPIO_WritePin(GPIOF, GPIO_PIN_4, GPIO_PIN_RESET);

  /*Configure GPIO pin Output Level */
  HAL_GPIO_WritePin(GPIOB, GPIO_PIN_0, GPIO_PIN_RESET);

  /*Configure GPIO pin Output Level */
  HAL_GPIO_WritePin(GPIOG, GPIO_PIN_4, GPIO_PIN_RESET);

  /*Configure GPIO pin : PC13 */
  GPIO_InitStruct.Pin = GPIO_PIN_13;
  GPIO_InitStruct.Mode = GPIO_MODE_IT_RISING;
  GPIO_InitStruct.Pull = GPIO_NOPULL;
  HAL_GPIO_Init(GPIOC, &GPIO_InitStruct);

  /*Configure GPIO pin : PF4 */
  GPIO_InitStruct.Pin = GPIO_PIN_4;
  GPIO_InitStruct.Mode = GPIO_MODE_OUTPUT_PP;
  GPIO_InitStruct.Pull = GPIO_NOPULL;
  GPIO_InitStruct.Speed = GPIO_SPEED_FREQ_LOW;
  HAL_GPIO_Init(GPIOF, &GPIO_InitStruct);

  /*Configure GPIO pin : VBUS_SENSE_Pin */
  GPIO_InitStruct.Pin = VBUS_SENSE_Pin;
  GPIO_InitStruct.Mode = GPIO_MODE_ANALOG;
  GPIO_InitStruct.Pull = GPIO_NOPULL;
  HAL_GPIO_Init(VBUS_SENSE_GPIO_Port, &GPIO_InitStruct);

  /*Configure GPIO pin : PB0 */
  GPIO_InitStruct.Pin = GPIO_PIN_0;
  GPIO_InitStruct.Mode = GPIO_MODE_OUTPUT_PP;
  GPIO_InitStruct.Pull = GPIO_NOPULL;
  GPIO_InitStruct.Speed = GPIO_SPEED_FREQ_LOW;
  HAL_GPIO_Init(GPIOB, &GPIO_InitStruct);

  /*Configure GPIO pins : UCPD_CC1_Pin UCPD_CC2_Pin */
  GPIO_InitStruct.Pin = UCPD_CC1_Pin|UCPD_CC2_Pin;
  GPIO_InitStruct.Mode = GPIO_MODE_ANALOG;
  GPIO_InitStruct.Pull = GPIO_NOPULL;
  HAL_GPIO_Init(GPIOB, &GPIO_InitStruct);

  /*Configure GPIO pin : PG4 */
  GPIO_InitStruct.Pin = GPIO_PIN_4;
  GPIO_InitStruct.Mode = GPIO_MODE_OUTPUT_PP;
  GPIO_InitStruct.Pull = GPIO_NOPULL;
  GPIO_InitStruct.Speed = GPIO_SPEED_FREQ_LOW;
  HAL_GPIO_Init(GPIOG, &GPIO_InitStruct);

  /*Configure GPIO pin : UCPD_FLT_Pin */
  GPIO_InitStruct.Pin = UCPD_FLT_Pin;
  GPIO_InitStruct.Mode = GPIO_MODE_IT_RISING;
  GPIO_InitStruct.Pull = GPIO_NOPULL;
  HAL_GPIO_Init(UCPD_FLT_GPIO_Port, &GPIO_InitStruct);

  /*Configure GPIO pins : ARD_D1_TX_Pin ARD_D0_RX_Pin */
  GPIO_InitStruct.Pin = ARD_D1_TX_Pin|ARD_D0_RX_Pin;
  GPIO_InitStruct.Mode = GPIO_MODE_AF_PP;
  GPIO_InitStruct.Pull = GPIO_NOPULL;
  GPIO_InitStruct.Speed = GPIO_SPEED_FREQ_LOW;
  GPIO_InitStruct.Alternate = GPIO_AF8_LPUART1;
  HAL_GPIO_Init(GPIOB, &GPIO_InitStruct);

}

/* USER CODE BEGIN 4 */
#if defined(__ICCARM__)
size_t __write(int file, unsigned char const *ptr, size_t len)
{
  size_t idx;
  unsigned char const *pdata = ptr;

  for (idx = 0; idx < len; idx++)
  {
    iar_fputc((int)*pdata);
    pdata++;
  }
  return len;
}
#endif /* __ICCARM__ */
/**
  * @brief  Retargets the C library printf function to the USART.
  * @param  None
  * @retval None
  */

PUTCHAR_PROTOTYPE
{
  /* Place your implementation of putchar here */
  /* e.g. write a character to the USART3 and Loop until the end of transmission */
  HAL_UART_Transmit(&huart3, (uint8_t *)&ch, 1, 0xFFFF);
  return ch;
}

/* USER CODE END 4 */

void HAL_TIM_PeriodElapsedCallback(TIM_HandleTypeDef *htim)
{
  if (htim->Instance == TIM17) {
    HAL_IncTick();
  }
}

void Error_Handler(void)
{
  while (1)
  {
  }
}
